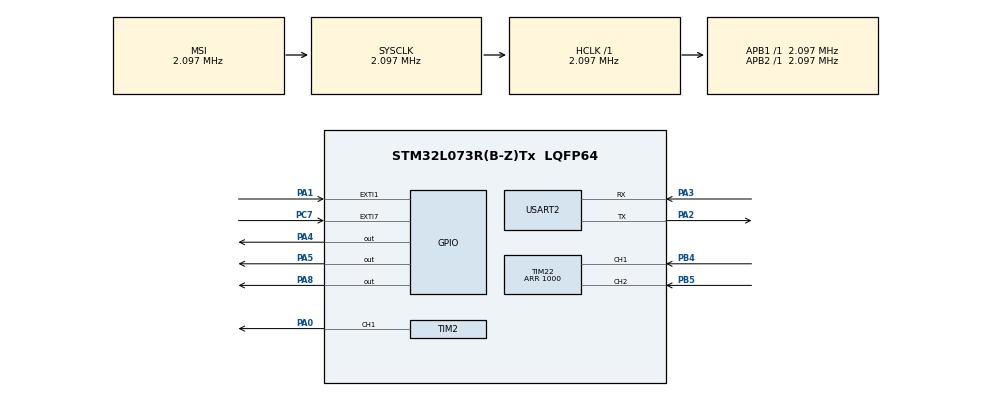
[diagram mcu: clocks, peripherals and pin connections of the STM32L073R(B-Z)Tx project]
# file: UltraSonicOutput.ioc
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Mcu.Family=STM32L0
Mcu.Name=STM32L073R(B-Z)Tx
Mcu.Package=LQFP64
NVIC.EXTI0_1_IRQn=true\:0\:0\:false\:false\:true\:true\:true
NVIC.EXTI4_15_IRQn=true\:0\:0\:false\:false\:true\:true\:true
NVIC.TIM22_IRQn=true\:0\:0\:false\:false\:true\:true\:true
NVIC.TIM6_DAC_IRQn=true\:0\:0\:false\:false\:true\:true\:true
PA0.Signal=S_TIM2_CH1
PA1.GPIO_ModeDefaultEXTI=GPIO_MODE_IT_RISING
PA1.Signal=GPXTI1
PA2.Mode=Asynchronous
PA2.Signal=USART2_TX
PA3.Mode=Asynchronous
PA3.Signal=USART2_RX
PA4.GPIO_Speed=GPIO_SPEED_FREQ_HIGH
PA4.Signal=GPIO_Output
PA5.Signal=GPIO_Output
PA8.GPIO_Speed=GPIO_SPEED_FREQ_HIGH
PA8.PinState=GPIO_PIN_RESET
PA8.Signal=GPIO_Output
PB4.GPIO_PuPd=GPIO_PULLDOWN
PB4.GPIO_Speed=GPIO_SPEED_FREQ_HIGH
PB4.Signal=S_TIM22_CH1
PB5.GPIO_PuPd=GPIO_PULLDOWN
PB5.GPIO_Speed=GPIO_SPEED_FREQ_HIGH
PB5.Signal=S_TIM22_CH2
PC7.GPIO_ModeDefaultEXTI=GPIO_MODE_IT_FALLING
PC7.Signal=GPXTI7
ProjectManager.HeapSize=0x200
ProjectManager.StackSize=0x400
ProjectManager.TargetToolchain=STM32CubeIDE
RCC.AHBFreq_Value=2097000
RCC.APB1Freq_Value=2097000
RCC.APB1TimFreq_Value=2097000
RCC.APB2Freq_Value=2097000
RCC.APB2TimFreq_Value=2097000
RCC.HSE_VALUE=8000000
RCC.HSI16_VALUE=16000000
RCC.HSI48_VALUE=48000000
RCC.HSI_VALUE=16000000
RCC.LSE_VALUE=32768
RCC.MSI_VALUE=2097000
RCC.SYSCLKFreq_VALUE=2097000
RCC.VCOOutputFreq_Value=48000000
SH.S_TIM22_CH1.0=TIM22_CH1,Encoder_Interface
SH.S_TIM22_CH2.0=TIM22_CH2,Encoder_Interface
SH.S_TIM2_CH1.0=TIM2_CH1,PWM Generation1 CH1
TIM2.Channel-PWM\ Generation1\ CH1=TIM_CHANNEL_1
TIM2.Period=9
TIM2.Prescaler=20
TIM2.Pulse-PWM\ Generation1\ CH1=9
TIM22.IC1Filter=4
TIM22.IC1Polarity=TIM_ICPOLARITY_FALLING
TIM22.IC2Filter=4
TIM22.IC2Polarity=TIM_ICPOLARITY_FALLING
TIM22.Period=1000
TIM6.Period=499
TIM6.Prescaler=2099
USART2.VirtualMode-Asynchronous=VM_ASYNC
VP_TIM2_VS_ClockSourceINT.Mode=Internal
VP_TIM2_VS_ClockSourceITR.Mode=TriggerSource_ITR0
VP_TIM6_VS_ClockSourceINT.Mode=Enable_Timer
board=custom

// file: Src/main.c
/* USER CODE BEGIN Header */
/**
  ******************************************************************************
  * @file           : main.c
  * @brief          : Main program body
  ******************************************************************************
  * @attention
  *
  * <h2><center>&copy; Copyright (c) 2019 STMicroelectronics.
  * All rights reserved.</center></h2>
  *
  * This software component is licensed by ST under BSD 3-Clause license,
  * the "License"; You may not use this file except in compliance with the
  * License. You may obtain a copy of the License at:
  *                        opensource.org/licenses/BSD-3-Clause
  *
  ******************************************************************************
  */
/* USER CODE END Header */

#include "main.h"

/* USER CODE BEGIN Includes */
#include "stdio.h"
/* USER CODE END Includes */

/* USER CODE BEGIN PD */
void myTim2Init(void);
/* USER CODE END PD */

/* USER CODE BEGIN PM */
void init_Left(){
	GPIOA->ODR |= GPIO_PIN_4;
}
void init_Right(){
	GPIOA->ODR &= ~GPIO_PIN_4;
	GPIOA->ODR |= GPIO_PIN_8;
}
void init_Straight(){
	GPIOA->ODR &= ~GPIO_PIN_8;
}
void myTim2Init(void){
	RCC->IOPENR |= RCC_IOPENR_IOPAEN;
	RCC->APB1ENR |= RCC_APB1ENR_TIM2EN;
	GPIOA->MODER |= 2;
	GPIOA->AFR[0] |= 2;
	GPIOA->OSPEEDR |= 2;
	TIM2->PSC = 20;
	TIM2->ARR = 9;
	TIM2->CCMR1 |= TIM_CCMR1_OC1M_2 | TIM_CCMR1_OC1M_1;
	TIM2->CCR1 = 9;
	TIM2->CCER |= 1;
	TIM2->CR1 |= 1;
	RCC->APB1ENR |= RCC_APB1ENR_TIM2EN;
	RCC->APB1ENR |= RCC_APB1ENR_TIM6EN;
}
/* USER CODE END PM */

TIM_HandleTypeDef htim2;
TIM_HandleTypeDef htim6;
TIM_HandleTypeDef htim22;

UART_HandleTypeDef huart2;

/* USER CODE BEGIN PV */
uint32_t nLoop=0;
/* USER CODE END PV */

void SystemClock_Config(void);
static void MX_GPIO_Init(void);
static void MX_TIM2_Init(void);
static void MX_TIM6_Init(void);
static void MX_USART2_UART_Init(void);
static void MX_TIM22_Init(void);

/* USER CODE BEGIN 0 */
#ifdef __GNUC__
/* With GCC/RAISONANCE, small printf (option LD Linker->Libraries->Small printf
 set to 'Yes') calls __io_putchar() */
#define PUTCHAR_PROTOTYPE int __io_putchar(int ch)
#else
#define PUTCHAR_PROTOTYPE int fputc(int ch, FILE *f)
#endif /* __GNUC__ */
/* USER CODE END 0 */

int main(void)
{

  /* MCU Configuration--------------------------------------------------------*/

  /* Reset of all peripherals, Initializes the Flash interface and the Systick. */
  HAL_Init();

  /* Configure the system clock */
  SystemClock_Config();

  /* Initialize all configured peripherals */
  MX_GPIO_Init();
  MX_TIM2_Init();
  MX_TIM6_Init();
  MX_USART2_UART_Init();
  MX_TIM22_Init();
  /* USER CODE BEGIN 2 */
  	myTim2Init();
	TIM6->CR1 |= 1;
	HAL_TIM_Base_Start_IT(&htim6);
	HAL_TIM_Encoder_Start(&htim22,TIM_CHANNEL_ALL);
  /* USER CODE END 2 */

  /* Infinite loop */
  /* USER CODE BEGIN WHILE */

	int i = 0;
	int hold = 0;
  while (1)
  {

    /* USER CODE END WHILE */

    /* USER CODE BEGIN 3 */
	  i = TIM22->CNT;
	  HAL_Delay(200);
	  if (hold > i){
		  printf("turn left\r\n");
		  hold = i;
	  }
	  else if (hold < i) {
		  printf("turn right\r\n");
		  hold = i;
	  }
  }
  /* USER CODE END 3 */
}

void SystemClock_Config(void)
{
  RCC_OscInitTypeDef RCC_OscInitStruct = {0};
  RCC_ClkInitTypeDef RCC_ClkInitStruct = {0};
  RCC_PeriphCLKInitTypeDef PeriphClkInit = {0};

  /** Configure the main internal regulator output voltage
  */
  __HAL_PWR_VOLTAGESCALING_CONFIG(PWR_REGULATOR_VOLTAGE_SCALE1);
  /** Initializes the CPU, AHB and APB busses clocks
  */
  RCC_OscInitStruct.OscillatorType = RCC_OSCILLATORTYPE_MSI;
  RCC_OscInitStruct.MSIState = RCC_MSI_ON;
  RCC_OscInitStruct.MSICalibrationValue = 0;
  RCC_OscInitStruct.MSIClockRange = RCC_MSIRANGE_5;
  RCC_OscInitStruct.PLL.PLLState = RCC_PLL_NONE;
  if (HAL_RCC_OscConfig(&RCC_OscInitStruct) != HAL_OK)
  {
    Error_Handler();
  }
  /** Initializes the CPU, AHB and APB busses clocks
  */
  RCC_ClkInitStruct.ClockType = RCC_CLOCKTYPE_HCLK|RCC_CLOCKTYPE_SYSCLK
                              |RCC_CLOCKTYPE_PCLK1|RCC_CLOCKTYPE_PCLK2;
  RCC_ClkInitStruct.SYSCLKSource = RCC_SYSCLKSOURCE_MSI;
  RCC_ClkInitStruct.AHBCLKDivider = RCC_SYSCLK_DIV1;
  RCC_ClkInitStruct.APB1CLKDivider = RCC_HCLK_DIV1;
  RCC_ClkInitStruct.APB2CLKDivider = RCC_HCLK_DIV1;

  if (HAL_RCC_ClockConfig(&RCC_ClkInitStruct, FLASH_LATENCY_0) != HAL_OK)
  {
    Error_Handler();
  }
  PeriphClkInit.PeriphClockSelection = RCC_PERIPHCLK_USART2;
  PeriphClkInit.Usart2ClockSelection = RCC_USART2CLKSOURCE_PCLK1;
  if (HAL_RCCEx_PeriphCLKConfig(&PeriphClkInit) != HAL_OK)
  {
    Error_Handler();
  }
}

static void MX_TIM2_Init(void)
{

  TIM_ClockConfigTypeDef sClockSourceConfig = {0};
  TIM_SlaveConfigTypeDef sSlaveConfig = {0};
  TIM_MasterConfigTypeDef sMasterConfig = {0};
  TIM_OC_InitTypeDef sConfigOC = {0};

  htim2.Instance = TIM2;
  htim2.Init.Prescaler = 20;
  htim2.Init.CounterMode = TIM_COUNTERMODE_UP;
  htim2.Init.Period = 9;
  htim2.Init.ClockDivision = TIM_CLOCKDIVISION_DIV1;
  htim2.Init.AutoReloadPreload = TIM_AUTORELOAD_PRELOAD_DISABLE;
  if (HAL_TIM_Base_Init(&htim2) != HAL_OK)
  {
    Error_Handler();
  }
  sClockSourceConfig.ClockSource = TIM_CLOCKSOURCE_INTERNAL;
  if (HAL_TIM_ConfigClockSource(&htim2, &sClockSourceConfig) != HAL_OK)
  {
    Error_Handler();
  }
  if (HAL_TIM_PWM_Init(&htim2) != HAL_OK)
  {
    Error_Handler();
  }
  sSlaveConfig.SlaveMode = TIM_SLAVEMODE_DISABLE;
  sSlaveConfig.InputTrigger = TIM_TS_ITR0;
  if (HAL_TIM_SlaveConfigSynchro(&htim2, &sSlaveConfig) != HAL_OK)
  {
    Error_Handler();
  }
  sMasterConfig.MasterOutputTrigger = TIM_TRGO_RESET;
  sMasterConfig.MasterSlaveMode = TIM_MASTERSLAVEMODE_DISABLE;
  if (HAL_TIMEx_MasterConfigSynchronization(&htim2, &sMasterConfig) != HAL_OK)
  {
    Error_Handler();
  }
  sConfigOC.OCMode = TIM_OCMODE_PWM1;
  sConfigOC.Pulse = 9;
  sConfigOC.OCPolarity = TIM_OCPOLARITY_HIGH;
  sConfigOC.OCFastMode = TIM_OCFAST_DISABLE;
  if (HAL_TIM_PWM_ConfigChannel(&htim2, &sConfigOC, TIM_CHANNEL_1) != HAL_OK)
  {
    Error_Handler();
  }
  HAL_TIM_MspPostInit(&htim2);

}

static void MX_TIM6_Init(void)
{

  TIM_MasterConfigTypeDef sMasterConfig = {0};

  htim6.Instance = TIM6;
  htim6.Init.Prescaler = 2099;
  htim6.Init.CounterMode = TIM_COUNTERMODE_UP;
  htim6.Init.Period = 499;
  htim6.Init.AutoReloadPreload = TIM_AUTORELOAD_PRELOAD_DISABLE;
  if (HAL_TIM_Base_Init(&htim6) != HAL_OK)
  {
    Error_Handler();
  }
  sMasterConfig.MasterOutputTrigger = TIM_TRGO_RESET;
  sMasterConfig.MasterSlaveMode = TIM_MASTERSLAVEMODE_DISABLE;
  if (HAL_TIMEx_MasterConfigSynchronization(&htim6, &sMasterConfig) != HAL_OK)
  {
    Error_Handler();
  }

}

static void MX_TIM22_Init(void)
{

  TIM_Encoder_InitTypeDef sConfig = {0};
  TIM_MasterConfigTypeDef sMasterConfig = {0};

  htim22.Instance = TIM22;
  htim22.Init.Prescaler = 0;
  htim22.Init.CounterMode = TIM_COUNTERMODE_UP;
  htim22.Init.Period = 1000;
  htim22.Init.ClockDivision = TIM_CLOCKDIVISION_DIV1;
  htim22.Init.AutoReloadPreload = TIM_AUTORELOAD_PRELOAD_DISABLE;
  sConfig.EncoderMode = TIM_ENCODERMODE_TI1;
  sConfig.IC1Polarity = TIM_ICPOLARITY_FALLING;
  sConfig.IC1Selection = TIM_ICSELECTION_DIRECTTI;
  sConfig.IC1Prescaler = TIM_ICPSC_DIV1;
  sConfig.IC1Filter = 4;
  sConfig.IC2Polarity = TIM_ICPOLARITY_FALLING;
  sConfig.IC2Selection = TIM_ICSELECTION_DIRECTTI;
  sConfig.IC2Prescaler = TIM_ICPSC_DIV1;
  sConfig.IC2Filter = 4;
  if (HAL_TIM_Encoder_Init(&htim22, &sConfig) != HAL_OK)
  {
    Error_Handler();
  }
  sMasterConfig.MasterOutputTrigger = TIM_TRGO_RESET;
  sMasterConfig.MasterSlaveMode = TIM_MASTERSLAVEMODE_DISABLE;
  if (HAL_TIMEx_MasterConfigSynchronization(&htim22, &sMasterConfig) != HAL_OK)
  {
    Error_Handler();
  }

}

static void MX_USART2_UART_Init(void)
{

  huart2.Instance = USART2;
  huart2.Init.BaudRate = 115200;
  huart2.Init.WordLength = UART_WORDLENGTH_8B;
  huart2.Init.StopBits = UART_STOPBITS_1;
  huart2.Init.Parity = UART_PARITY_NONE;
  huart2.Init.Mode = UART_MODE_TX_RX;
  huart2.Init.HwFlowCtl = UART_HWCONTROL_NONE;
  huart2.Init.OverSampling = UART_OVERSAMPLING_16;
  huart2.Init.OneBitSampling = UART_ONE_BIT_SAMPLE_DISABLE;
  huart2.AdvancedInit.AdvFeatureInit = UART_ADVFEATURE_NO_INIT;
  if (HAL_UART_Init(&huart2) != HAL_OK)
  {
    Error_Handler();
  }

}

static void MX_GPIO_Init(void)
{
  GPIO_InitTypeDef GPIO_InitStruct = {0};

  /* GPIO Ports Clock Enable */
  __HAL_RCC_GPIOA_CLK_ENABLE();
  __HAL_RCC_GPIOC_CLK_ENABLE();
  __HAL_RCC_GPIOB_CLK_ENABLE();

  /*Configure GPIO pin Output Level */
  HAL_GPIO_WritePin(GPIOA, GPIO_PIN_4|GPIO_PIN_5|GPIO_PIN_8, GPIO_PIN_RESET);

  /*Configure GPIO pin : PA1 */
  GPIO_InitStruct.Pin = GPIO_PIN_1;
  GPIO_InitStruct.Mode = GPIO_MODE_IT_RISING;
  GPIO_InitStruct.Pull = GPIO_NOPULL;
  HAL_GPIO_Init(GPIOA, &GPIO_InitStruct);

  /*Configure GPIO pins : PA4 PA8 */
  GPIO_InitStruct.Pin = GPIO_PIN_4|GPIO_PIN_8;
  GPIO_InitStruct.Mode = GPIO_MODE_OUTPUT_PP;
  GPIO_InitStruct.Pull = GPIO_NOPULL;
  GPIO_InitStruct.Speed = GPIO_SPEED_FREQ_HIGH;
  HAL_GPIO_Init(GPIOA, &GPIO_InitStruct);

  /*Configure GPIO pin : PA5 */
  GPIO_InitStruct.Pin = GPIO_PIN_5;
  GPIO_InitStruct.Mode = GPIO_MODE_OUTPUT_PP;
  GPIO_InitStruct.Pull = GPIO_NOPULL;
  GPIO_InitStruct.Speed = GPIO_SPEED_FREQ_LOW;
  HAL_GPIO_Init(GPIOA, &GPIO_InitStruct);

  /*Configure GPIO pin : PC7 */
  GPIO_InitStruct.Pin = GPIO_PIN_7;
  GPIO_InitStruct.Mode = GPIO_MODE_IT_FALLING;
  GPIO_InitStruct.Pull = GPIO_NOPULL;
  HAL_GPIO_Init(GPIOC, &GPIO_InitStruct);

  /* EXTI interrupt init*/
  HAL_NVIC_SetPriority(EXTI0_1_IRQn, 0, 0);
  HAL_NVIC_EnableIRQ(EXTI0_1_IRQn);

  HAL_NVIC_SetPriority(EXTI4_15_IRQn, 0, 0);
  HAL_NVIC_EnableIRQ(EXTI4_15_IRQn);

}

/* USER CODE BEGIN 4 */
/**
 * @brief Retargets the C library printf function to the USART.
 * @param None
 * @retval None
 */
PUTCHAR_PROTOTYPE
{
 /* Place your implementation of fputc here */
 /* e.g. write a character to the USART2 and Loop until the end of transmission */
 HAL_UART_Transmit(&huart2, (uint8_t *)&ch, 1, 0xFFFF);

return ch;
}
/* USER CODE END 4 */

void Error_Handler(void)
{
}

/************************ (C) COPYRIGHT STMicroelectronics *****END OF FILE****/
